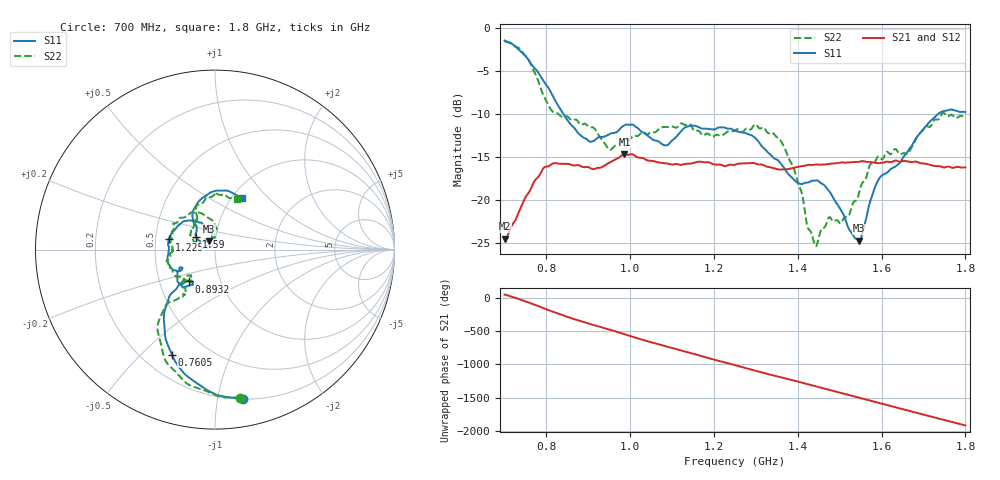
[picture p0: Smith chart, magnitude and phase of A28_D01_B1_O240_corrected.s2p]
! Created with skrf 1.9.0 (http://scikit-rf.org).
# Hz S RI R 50.0
!freq ReS11 ImS11 ReS21 ImS21 ReS12 ImS12 ReS22 ImS22
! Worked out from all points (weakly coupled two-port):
!   1601 points, 700 MHz to 1.8 GHz, reference 50 ohm
!   highest |S21| = -14.67 dB at 986 MHz (marker M1); lowest = -24.5 dB at 700 MHz (marker M2)
!   lowest |S11| = -24.8 dB at 1.546 GHz (marker M3), VSWR 1.12, Z = 46.5 + j4.31 ohm
!   |S11| at or under -10 dB: 840.1 MHz to 1.735 GHz (894.8 MHz wide, 69.5 % of centre)
!   |S22| runs from -25.4 to -1.5 dB; largest |S21 - S12| = 0.0037
!   S11 on the Smith chart (normalised r, x): 700 MHz: 0.20, -1.19; 760.5 MHz: 0.32, -0.62; 893.2 MHz: 0.71, -0.27; 1.225 GHz: 0.59, +0.07; 1.59 GHz: 0.80, +0.12; 1.8 GHz: 1.12, +0.72
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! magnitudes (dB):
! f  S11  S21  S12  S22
! 700 MHz  -1.4  -24.5  -24.3  -1.5
! 760.5 MHz  -4.0  -18.9  -18.8  -4.0
! 812.1 MHz  -7.6  -15.8  -15.8  -9.6
! 883.6 MHz  -12.6  -16.1  -16.0  -11.3
! 893.2 MHz  -12.8  -16.2  -16.3  -11.1
! 950.2 MHz  -12.3  -15.7  -15.7  -14.2
! 986 MHz  -11.3  -14.7  -14.8  -13.0
! 1.067 GHz  -13.2  -15.6  -15.6  -11.8
! 1.225 GHz  -11.6  -16.1  -16.0  -12.3
! 1.25 GHz  -12.0  -15.9  -15.8  -11.9
! 1.359 GHz  -15.7  -16.5  -16.5  -13.1
! 1.392 GHz  -17.7  -16.3  -16.3  -16.5
! 1.434 GHz  -17.8  -15.9  -15.9  -24.0
! 1.445 GHz  -17.7  -15.9  -15.9  -25.3
! 1.471 GHz  -18.7  -15.9  -15.8  -22.4
! 1.519 GHz  -23.1  -15.6  -15.7  -22.0
! 1.546 GHz  -24.8  -15.6  -15.5  -19.2
! 1.59 GHz  -17.8  -15.7  -15.7  -15.0
! 1.617 GHz  -16.7  -15.6  -15.6  -14.6
! 1.663 GHz  -14.3  -15.5  -15.6  -14.6
! 1.736 GHz  -10.0  -16.1  -16.1  -10.6
! 1.8 GHz  -9.8  -16.2  -16.2  -10.3
